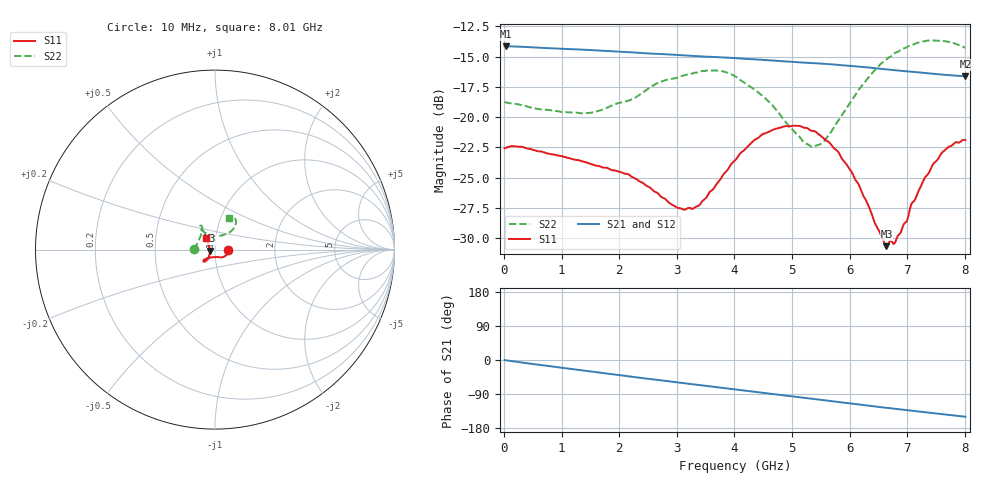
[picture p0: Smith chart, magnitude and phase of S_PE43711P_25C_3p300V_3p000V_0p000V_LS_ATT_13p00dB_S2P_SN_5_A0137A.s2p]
! Device ID: PE43711P
! File Path: z:\PE43711P\CHAR_NOM_04282014\AMB\3p300\LS_ATT_13p00dB\PE43711P_AMB_3p300V_3p000V_0p000V_LS_ATT_13p00dB_S2P_SN_5_A0137A.s2p
! Serial: 5
! Lot: A0137A
! Temp: 25C
! VDD: 3.300
! VSS: 0.000
! Control_Hi: 3.000
! Control_Lo: 0.000
! Attenuation Step: 13.00dB
! Port 1: RF1
! Port 2: RF2
! ThroughPath:1-2
! IDD: 0.000128174
! ISS: -9.47e-008
#  Hz  S  RI  R  50
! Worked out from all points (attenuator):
!   801 points, 10 MHz to 8.01 GHz, reference 50 ohm
!   highest |S21| = -14.14 dB at 30 MHz (marker M1); lowest = -16.6 dB at 8.01 GHz (marker M2)
!   lowest |S11| = -30.7 dB at 6.64 GHz (marker M3), VSWR 1.06, Z = 47.2 - j0.648 ohm
!   |S11| at or under -10 dB: start of sweep to end of sweep
!   |S22| runs from -22.5 to -13.7 dB; largest |S21 - S12| = 0.00041
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1e7  0.0743 -0.000105  0.1963 -0.000964  0.1965 -0.00104  -0.1156 0.000904
3e7  0.0748 -0.000589  0.1964 -0.00227  0.1965 -0.0023  -0.1151 0.00191
1.35e9  0.0541 -0.0375  0.1689 -0.0876  0.169 -0.0876  -0.0913 0.0491
2.15e9  0.038 -0.044  0.136 -0.1265  0.1361 -0.1266  -0.0741 0.0902
2.68e9  0.0231 -0.0423  0.1102 -0.1455  0.1103 -0.1455  -0.0708 0.1197
3.01e9  0.00903 -0.0413  0.093 -0.1551  0.0931 -0.1552  -0.0721 0.1266
3.3e9  -0.00562 -0.0418  0.0772 -0.1615  0.0772 -0.1616  -0.0755 0.1324
3.69e9  -0.0285 -0.0446  0.0559 -0.168  0.0558 -0.168  -0.0828 0.1321
4.01e9  -0.0454 -0.0483  0.0375 -0.1714  0.0374 -0.1715  -0.0847 0.1209
4.34e9  -0.0588 -0.0545  0.0188 -0.1724  0.0188 -0.1725  -0.0738 0.1074
4.69e9  -0.0642 -0.0616  -0.000735 -0.1713  -0.000804 -0.1712  -0.0568 0.0938
5.08e9  -0.0629 -0.0672  -0.0218 -0.1673  -0.0219 -0.1674  -0.0259 0.0811
5.35e9  -0.0576 -0.0661  -0.0358 -0.1635  -0.0358 -0.1636  0.000539 0.0752
5.56e9  -0.0511 -0.0633  -0.0465 -0.1595  -0.0465 -0.1596  0.0241 0.0761
6.01e9  -0.0373 -0.0478  -0.0679 -0.1481  -0.0682 -0.1481  0.0705 0.0907
6.64e9  -0.0285 -0.00685  -0.093 -0.1272  -0.093 -0.1274  0.1119 0.1322
6.68e9  -0.03 -0.00348  -0.0943 -0.1259  -0.0943 -0.1261  0.1128 0.1358
6.87e9  -0.0316 0.00915  -0.1004 -0.1189  -0.1004 -0.119  0.1165 0.1481
7.09e9  -0.0367 0.025  -0.107 -0.1107  -0.107 -0.1108  0.1155 0.1623
7.46e9  -0.0443 0.0469  -0.1165 -0.0962  -0.1166 -0.0963  0.1037 0.1796
7.7e9  -0.0493 0.0563  -0.1216 -0.0867  -0.1216 -0.0866  0.0914 0.1838
8.01e9  -0.0507 0.0624  -0.1274 -0.0743  -0.1276 -0.074  0.0785 0.1768
